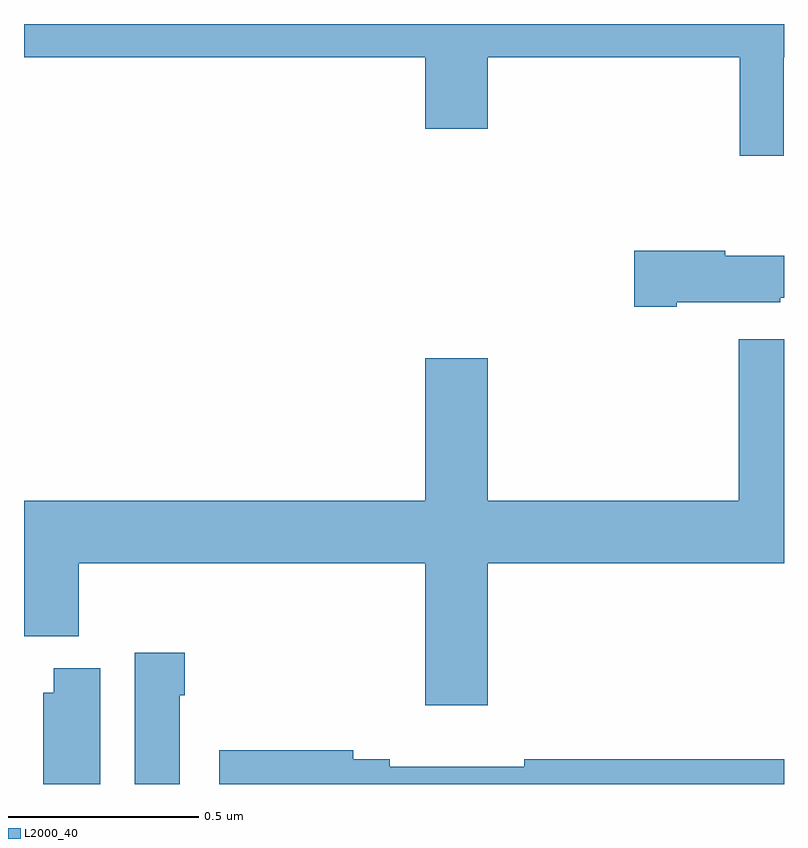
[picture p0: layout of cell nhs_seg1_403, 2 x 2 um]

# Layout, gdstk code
import gdstk
lib = gdstk.Library(unit=1e-6, precision=1e-09)
def P(c, l, *ps):  # polygons
    for p in ps: c.add(gdstk.Polygon(p, *l))
L2000_40 = (2000, 40)

nhs_seg1_403 = lib.new_cell('nhs_seg1_403')
P(nhs_seg1_403, L2000_40, [(117.999,505.112),(118,505.112),(118,505.199),(116,505.199),(116,505.112),(117.056,505.112),(117.056,504.924),(117.22,504.924),(117.22,505.112),(117.883,505.112),(117.883,504.852),(117.999,504.852)],
  [(117.718,504.467),(117.99,504.467),(117.99,504.479),(118,504.479),(118,504.589),(117.846,504.589),(117.846,504.602),(117.606,504.602),(117.606,504.455),(117.718,504.455)],
  [(117.22,503.78),(118,503.78),(118,504.37),(117.881,504.37),(117.881,503.944),(117.22,503.944),(117.22,504.319),(117.056,504.319),(117.056,503.944),(116,503.944),(116,503.588),(116.144,503.588),(116.144,503.78),(117.056,503.78),(117.056,503.406),(117.22,503.406)],
  [(116.41,503.432),(116.423,503.432),(116.423,503.545),(116.291,503.545),(116.291,503.199),(116.41,503.199)],
  [(116.2,503.503),(116.078,503.503),(116.078,503.439),(116.051,503.439),(116.051,503.199),(116.2,503.199)],
  [(118,503.264),(117.316,503.264),(117.316,503.245),(116.962,503.245),(116.962,503.264),(116.866,503.264),(116.866,503.288),(116.514,503.288),(116.514,503.199),(118,503.199)])

lib.write_gds('nhs_seg1_403.gds')
